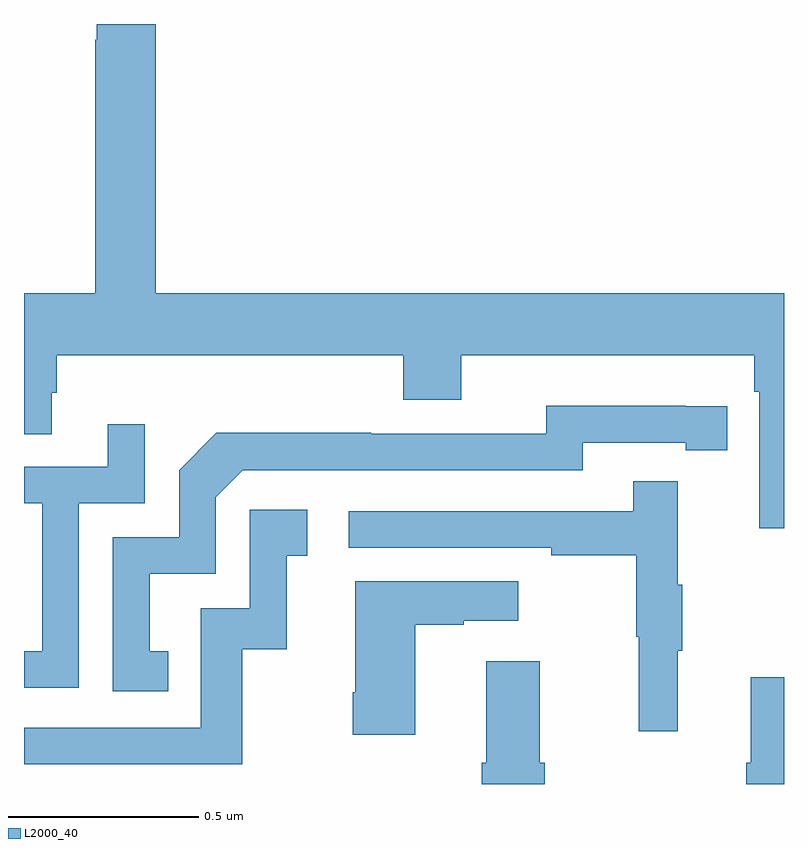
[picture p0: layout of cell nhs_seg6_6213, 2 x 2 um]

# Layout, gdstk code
import gdstk
lib = gdstk.Library(unit=1e-6, precision=1e-09)
def P(c, l, *ps):  # polygons
    for p in ps: c.add(gdstk.Polygon(p, *l))
L2000_40 = (2000, 40)

nhs_seg6_6213 = lib.new_cell('nhs_seg6_6213')
P(nhs_seg6_6213, L2000_40, [(192.347,989.5),(192.191,989.5),(192.191,989.459),(192.187,989.459),(192.187,988.792),(192,988.792),(192,988.42),(192.073,988.42),(192.073,988.53),(192.086,988.53),(192.086,988.628),(192.998,988.628),(192.998,988.511),(193.15,988.511),(193.15,988.628),(193.922,988.628),(193.922,988.532),(193.935,988.532),(193.935,988.173),(194,988.173),(194,988.792),(192.347,988.792)],
  [(192.38,987.849),(192.331,987.849),(192.331,988.053),(192.504,988.053),(192.504,988.254),(192.576,988.326),(193.47,988.326),(193.47,988.398),(193.742,988.398),(193.742,988.378),(193.85,988.378),(193.85,988.494),(193.742,988.494),(193.742,988.495),(193.374,988.495),(193.374,988.422),(192.914,988.422),(192.914,988.424),(192.506,988.424),(192.408,988.326),(192.408,988.149),(192.234,988.149),(192.234,987.744),(192.38,987.744)],
  [(192.144,988.239),(192.318,988.239),(192.318,988.447),(192.221,988.447),(192.221,988.335),(192,988.335),(192,988.239),(192.048,988.239),(192.048,987.85),(192,987.85),(192,987.753),(192.144,987.753)],
  [(193.721,987.851),(193.732,987.851),(193.732,988.025),(193.721,988.025),(193.721,988.297),(193.603,988.297),(193.603,988.218),(192.855,988.218),(192.855,988.122),(193.387,988.122),(193.387,988.102),(193.611,988.102),(193.611,987.888),(193.618,987.888),(193.618,987.639),(193.721,987.639)],
  [(192.574,987.855),(192.692,987.855),(192.692,988.101),(192.745,988.101),(192.745,988.222),(192.594,988.222),(192.594,987.963),(192.465,987.963),(192.465,987.648),(192,987.648),(192,987.552),(192.574,987.552)],
  [(193.03,987.919),(193.157,987.919),(193.157,987.929),(193.3,987.929),(193.3,988.033),(192.872,988.033),(192.872,987.742),(192.865,987.742),(192.865,987.63),(193.03,987.63)],
  [(193.37,987.556),(193.357,987.556),(193.357,987.823),(193.217,987.823),(193.217,987.556),(193.205,987.556),(193.205,987.5),(193.37,987.5)],
  [(194,987.781),(193.913,987.781),(193.913,987.556),(193.901,987.556),(193.901,987.5),(194,987.5)])

lib.write_gds('nhs_seg6_6213.gds')
